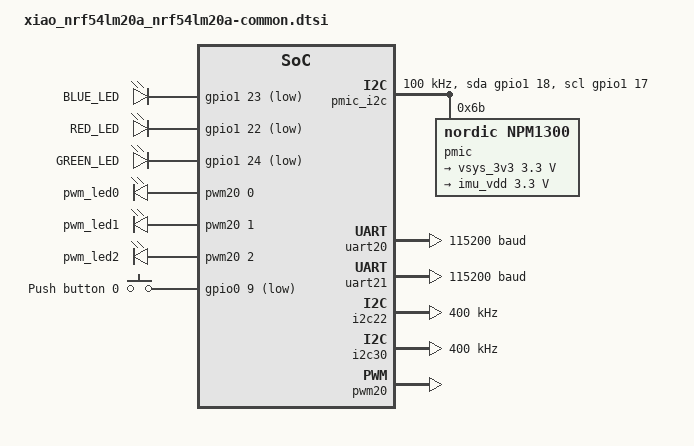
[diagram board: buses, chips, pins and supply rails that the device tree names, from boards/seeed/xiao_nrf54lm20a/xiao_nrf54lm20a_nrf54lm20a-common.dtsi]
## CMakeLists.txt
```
cmake_minimum_required(VERSION 3.20.0)

# Find Zephyr. This also loads the Zephyr build system.
find_package(Zephyr REQUIRED HINTS $ENV{ZEPHYR_BASE})
project(wearable_hr_monitor)

target_sources(app PRIVATE
    src/main.cpp
    src/WearableDSP.cpp
    src/power_ctrl.cpp
    src/gesture_mode.cpp
    src/gesture_poses.cpp
    src/orientation.cpp
    src/mic_vad.cpp
    src/mic_vad_rms.cpp
    src/lc3_codec.c
    src/ble_audio.cpp
    src/audio_stream.cpp
    src/audio_out.cpp
    src/audio_downlink.cpp
    src/sd_card.cpp
)
```

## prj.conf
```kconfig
# Core OS & C++
CONFIG_CPP=y
CONFIG_STD_CPP17=y
CONFIG_NEWLIB_LIBC=y
CONFIG_NEWLIB_LIBC_FLOAT_PRINTF=y

# Hardware Math (FPU)
CONFIG_FPU=y
CONFIG_CMSIS_DSP=y
CONFIG_CMSIS_DSP_FILTERING=y
CONFIG_CMSIS_DSP_FASTMATH=y
CONFIG_CMSIS_DSP_TRANSFORM=y
CONFIG_CMSIS_DSP_STATISTICS=y
CONFIG_CMSIS_DSP_COMPLEXMATH=y

# Peripherals & Sensors
CONFIG_I2C=y
CONFIG_I2S=y
CONFIG_SENSOR=y
CONFIG_LOG=y
CONFIG_MAX30101=y
CONFIG_MAX30101_SPO2_MODE=y
# Chip-internal sample rate must equal the polling rate (driver reads 1 FIFO
# entry per sensor_sample_fetch and does not check FIFO occupancy).
# 1 = 100 Hz; matches SAMPLE_RATE in WearableDSP.h.
CONFIG_MAX30101_SR=1
# IR LED drive current (used as the PPG source on the wrist).
# Driver default is 0x33 = ~10 mA, which is on the low end and produces a
# weak AC component that lets the 2x cardiac harmonic dominate the
# autocorrelation.  0x66 = ~20 mA is the standard wrist-PPG drive level.
# Scale: 0x00=0 mA, 0xff=50 mA, linear (~0.2 mA / LSB).
CONFIG_MAX30101_LED2_PA=0x66
# LSM6DSL default ODR is "select at runtime" (chip stays powered down).
# 4 = 104 Hz, the closest available to our 100 Hz polling cadence.
CONFIG_LSM6DSL=y
CONFIG_LSM6DSL_ACCEL_ODR=4
# Gyroscope enabled 2026-06-10 for the dictation-vs-air-mouse flip
# discriminator prototype.  The supination roll (about the forearm
# axis = band X) has a gyro signature a lean does not -- something
# the accelerometer is blind to (yaw about the gravity-aligned forearm
# axis).  104 Hz matches the accel/acq cadence; +/-1000 dps gives
# headroom so a brisk wrist flip (~peak 400-600 dps) doesn't clip.
# Power note: the gyro is the most power-hungry IMU block; for
# production it should be gated to only run during the raise
# transition, not always-on.
CONFIG_LSM6DSL_GYRO_ODR=4
CONFIG_LSM6DSL_GYRO_FS=1000

# Threading & Memory
CONFIG_MAIN_STACK_SIZE=4096
CONFIG_SYSTEM_WORKQUEUE_STACK_SIZE=4096
CONFIG_HEAP_MEM_POOL_SIZE=4096
# Round-robin equal-priority preemptible threads so the two SOFT codec threads (LC3
# encode + decode, both prio 8) share fairly under load and neither starves the other.
# The hard-real-time fix is the priority split (codecs below the I2S feeder); this is
# the belt-and-suspenders safety net. 10 ms slice. (2026-06-30 full-duplex stutter fix.)
CONFIG_TIMESLICING=y
CONFIG_TIMESLICE_SIZE=10

# Power Management.
# CONFIG_PM enables Zephyr's PM policy: when the kernel has no runnable
# threads and no near-term timer, the policy picks the deepest allowed
# CPU sleep state.  On nRF52840 with the default policy that means
# SUSPEND-TO-IDLE (System ON sleep, WFI).  RAM is retained, the RTC
# keeps ticking (so k_timer / k_sleep still wake on schedule), and the
# BLE controller keeps its own radio scheduling.  Typical idle current
# drops from ~5 mA (full-run) to a few tens of µA plus radio events.
# CONFIG_PM_DEVICE is intentionally NOT enabled here -- our peripheral
# power control (MAX30102 SHDN, LSM6DSL embedded engines) is done by
# hand via direct I2C writes, not by the device PM framework.
CONFIG_PM=y

# BLE Configuration
CONFIG_BT=y
CONFIG_BT_PERIPHERAL=y
CONFIG_BT_DEVICE_NAME="Xiao_Pulse"
CONFIG_BT_DEVICE_APPEARANCE=833
CONFIG_BT_HRS=y
CONFIG_BT_BAS=y

# BLE security + bonded-pairing + persistent settings storage.  Kept as
# foundation infra: settings_load() at bt_ready() and the 'u' serial
# command (bt_unpair) rely on CONFIG_BT_SETTINGS + SMP, and bond storage
# lets a host avoid re-pairing every connection.
CONFIG_BT_SMP=y
CONFIG_BT_SIGNING=y
CONFIG_BT_SETTINGS=y
CONFIG_SETTINGS=y
CONFIG_FLASH=y
CONFIG_FLASH_MAP=y
CONFIG_NVS=y
# Allow up to 4 bonded hosts (phone + computer + 2 spare slots).
CONFIG_BT_MAX_PAIRED=4

# ADC for Battery reading
CONFIG_ADC=y

# microSD over SPI + FAT filesystem.  PRIMARY future role: WRITING/recording
# audio to SD; the only read path today is the TEST-ONLY WAV playback that
# exercises audio_out with real audio.  (Config verified on this hardware.)
CONFIG_SPI=y
CONFIG_SDHC=y
CONFIG_DISK_DRIVERS=y
CONFIG_DISK_DRIVER_SDMMC=y
CONFIG_FILE_SYSTEM=y
CONFIG_FAT_FILESYSTEM_ELM=y

# USB CDC ACM Console (configured via board defaults)
CONFIG_CONSOLE=y
CONFIG_UART_CONSOLE=y
CONFIG_UART_LINE_CTRL=y
# RX needs the interrupt API.  The cdc_acm driver only delivers received
# bytes via its IRQ path; uart_poll_in() returns -1 indefinitely on it
# in this NCS version (logs went out fine but typed commands never
# reached the firmware -- reproduced in screen, so not Arduino-IDE-side).
# Enabling this lets us use uart_irq_callback_user_data_set + uart_irq_rx_enable.
CONFIG_UART_INTERRUPT_DRIVEN=y

# sys_reboot() for the serial-triggered reset command
CONFIG_REBOOT=y

# PDM microphone (dictation entry A.0)
CONFIG_AUDIO=y
CONFIG_AUDIO_DMIC=y
CONFIG_AUDIO_DMIC_NRFX_PDM=y

# Dictation audio stream (sub-project B): LC3 encode + custom BLE notify service.
# LC3 codec (Google liblc3, shipped in NCS as a Zephyr module).
CONFIG_LIBLC3=y
# FPU context must be saved across context switches: the LC3 encoder runs on the
# mic capture thread, alongside the CMSIS-DSP FFT VAD and the float math on the
# acq/DSP threads. CONFIG_FPU is already enabled above; sharing makes multi-thread
# FPU use correct.
CONFIG_FPU_SHARING=y
# BLE throughput for the 82-byte audio notification ([seq16][80B LC3 block]).
# Default ATT MTU (23) caps a notification at 20 bytes, far too small -- raise it.
# DLE lets the whole frame ride in one link-layer PDU. TX buf count gives the
# capture thread queueing headroom (tuned from observed [AUD] drops).
CONFIG_BT_L2CAP_TX_MTU=247
CONFIG_BT_BUF_ACL_TX_SIZE=251
CONFIG_BT_BUF_ACL_RX_SIZE=251
CONFIG_BT_CTLR_DATA_LENGTH_MAX=251
CONFIG_BT_L2CAP_TX_BUF_COUNT=12

# To re-measure per-thread stack peaks (right-sizing), temporarily add:
#   CONFIG_THREAD_NAME=y / CONFIG_INIT_STACKS=y / CONFIG_THREAD_ANALYZER=y
#   CONFIG_THREAD_ANALYZER_USE_LOG=y / CONFIG_THREAD_ANALYZER_AUTO=y
#   CONFIG_THREAD_ANALYZER_AUTO_INTERVAL=20 / CONFIG_LOG_BUFFER_SIZE=8192
# (2026-06-21 measurement: dl_thread decode peak 2784 B -> DL_THREAD_STACK=4096.)
```

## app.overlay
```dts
&pinctrl {
    i2c1_default: i2c1_default {
        group1 {
            psels = <NRF_PSEL(TWIM_SDA, 0, 4)>,
                    <NRF_PSEL(TWIM_SCL, 0, 5)>;
            bias-pull-up;
        };
    };
    i2c1_sleep: i2c1_sleep {
        group1 {
            psels = <NRF_PSEL(TWIM_SDA, 0, 4)>,
                    <NRF_PSEL(TWIM_SCL, 0, 5)>;
            low-power-enable;
        };
    };
	i2s0_default_alt: i2s0_default_alt {
		group1 {
			psels = <NRF_PSEL(I2S_SCK_M, 0, 3)>,    /* BCLK -> D1/P0.03 */
				<NRF_PSEL(I2S_LRCK_M, 0, 2)>,   /* LRCK -> D0/P0.02 */
				<NRF_PSEL(I2S_SDOUT, 0, 28)>;   /* DIN  -> D2/P0.28 */
		};
	};

	/* microSD over SPIM2 -- NOT SPIM1, which shares the HW block with the
	 * PPG's I2C1; SPIM2 stays conflict-free for the integrated build.
	 * Proven pinout from spkr_test/app.overlay (works on this hardware). */
	spi2_default_alt: spi2_default_alt {
		group1 {
			psels = <NRF_PSEL(SPIM_SCK, 1, 13)>,    /* CLK  -> D8/P1.13 */
				<NRF_PSEL(SPIM_MOSI, 1, 15)>,   /* MOSI -> D10/P1.15 */
				<NRF_PSEL(SPIM_MISO, 1, 14)>;   /* MISO -> D9/P1.14 */
		};
	};
	spi2_sleep_alt: spi2_sleep_alt {
		group1 {
			psels = <NRF_PSEL(SPIM_SCK, 1, 13)>,
				<NRF_PSEL(SPIM_MOSI, 1, 15)>,
				<NRF_PSEL(SPIM_MISO, 1, 14)>;
			low-power-enable;
		};
	};
};

/* microSD card slot on SPIM2 (FAT). PRIMARY future role: WRITING/recording
 * audio to SD; the only read path today is the TEST-ONLY WAV playback. */
&spi2 {
	status = "okay";
	pinctrl-0 = <&spi2_default_alt>;
	pinctrl-1 = <&spi2_sleep_alt>;
	pinctrl-names = "default", "sleep";
	cs-gpios = <&gpio0 29 GPIO_ACTIVE_LOW>;   /* CS -> D3/P0.29 */

	sdhc0: sdhc@0 {
		compatible = "zephyr,sdhc-spi-slot";
		reg = <0>;
		status = "okay";
		spi-max-frequency = <8000000>;        /* [UNIT] 8 MHz -- safe for SPI SD */
		mmc {
			compatible = "zephyr,sdmmc-disk";
			disk-name = "SD";
			status = "okay";
		};
	};
};

&i2c1 {
    compatible = "nordic,nrf-twim";
    status = "okay";
    pinctrl-0 = <&i2c1_default>;
    pinctrl-1 = <&i2c1_sleep>;
    pinctrl-names = "default", "sleep";
    clock-frequency = <I2C_BITRATE_FAST>;

    max30102: max30102@57 {
        compatible = "maxim,max30101";
        reg = <0x57>;
        label = "MAX30102";
    };
};

&i2s0 {
	status = "okay";
	pinctrl-0 = <&i2s0_default_alt>;
	pinctrl-names = "default";
};

/* Onboard PDM mic (MSM261D3526H1CPM): power regulator on P1.10 + enable pdm0.
 * Board DTS already provides the pdm0 node + pdm0_default/sleep pinctrl. */
/ {
    msm261d3526hicpm-c-en {
        compatible = "regulator-fixed";
        regulator-name = "MSM261D3526HICPM-C-EN";
        enable-gpios = <&gpio1 10 (NRF_GPIO_DRIVE_S0H1 | GPIO_ACTIVE_HIGH)>;
        regulator-boot-on;
    };
};

&pdm0 {
    status = "okay";
    clock-source = "PCLK32M";
};

/ {
    aliases {
        dmic0 = &pdm0;   /* mic_vad references DT_ALIAS(dmic0) */
    };
};
```

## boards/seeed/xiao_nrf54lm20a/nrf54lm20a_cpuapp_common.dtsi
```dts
/*
 * Copyright (c) 2025 Seeed Technology Co., Ltd.
 *
 * SPDX-License-Identifier: Apache-2.0
 */

/* This file is common to the secure and non-secure domain */

/* LOCAL PATCH (not Seeed's): this NCS (3.2.3 / Zephyr 4.2.99) ships the
 * engineering-A SoC dtsi as nrf54lm20a_enga_cpuapp.dtsi. Seeed's file
 * targets a newer Zephyr where it is nrf54lm20a_cpuapp.dtsi. Filename
 * only -- no hardware description is changed. Revert on an SDK upgrade. */
#include <nordic/nrf54lm20a_enga_cpuapp.dtsi>
#include "xiao_nrf54lm20a_nrf54lm20a-common.dtsi"

/ {
	power_en: power_en {
		compatible = "regulator-fixed";
		regulator-name = "power_en";
		enable-gpios = <&gpio1 12 GPIO_ACTIVE_HIGH>;
		regulator-boot-on;
	};
	
	chosen {
		zephyr,console = &uart20;
		zephyr,shell-uart = &uart20;
		zephyr,uart-mcumgr = &uart20;
		zephyr,bt-mon-uart = &uart20;
		zephyr,bt-c2h-uart = &uart20;
		zephyr,flash-controller = &rram_controller;
		zephyr,flash = &cpuapp_rram;
		zephyr,ieee802154 = &ieee802154;
	};
};

&cpuapp_sram {
	status = "okay";
};

&hfpll {
	clock-frequency = <DT_FREQ_M(128)>;
};

&lfxo {
	load-capacitors = "internal";
	load-capacitance-femtofarad = <17000>;
	status = "okay";
};

&hfxo {
	load-capacitors = "internal";
	load-capacitance-femtofarad = <15000>;
	status = "okay";
};

&vregmain {
	status = "okay";
	regulator-initial-mode = <NRF5X_REG_MODE_DCDC>;
};

&grtc {
	owned-channels = <0 1 2 3 4 5 6 7 8 9 10 11>;
	/* Channels 7-11 reserved for Zero Latency IRQs, 3-4 for FLPR */
	child-owned-channels = <3 4 7 8 9 10 11>;
	status = "okay";
};

&cpuapp_rram {
	partitions {
		compatible = "fixed-partitions";
		#address-cells = <1>;
		#size-cells = <1>;

		boot_partition: partition@0 {
			label = "mcuboot";
			reg = <0x0 DT_SIZE_K(64)>;
		};

		slot0_partition: partition@10000 {
			label = "image-0";
			reg = <0x10000 DT_SIZE_K(449)>;
		};

		slot0_ns_partition: partition@80400 {
			label = "image-0-nonsecure";
			reg = <0x80400 DT_SIZE_K(449)>;
		};

		slot1_partition: partition@f0800 {
			label = "image-1";
			reg = <0xf0800 DT_SIZE_K(449)>;
		};

		slot1_ns_partition: partition@160c00 {
			label = "image-1-nonsecure";
			reg = <0x160c00 DT_SIZE_K(449)>;
		};

		storage_partition: partition@1d1000 {
			label = "storage";
			reg = <0x1d1000 DT_SIZE_K(36)>;
		};
	};
};

&uart20 {
	status = "okay";
};

&nfct {
	status = "okay";
};

&gpio0 {
	status = "okay";
};

&gpio1 {
	status = "okay";
};

&gpio2 {
	status = "okay";
};

&gpiote20 {
	status = "okay";
};

&gpiote30 {
	status = "okay";
};

&radio {
	status = "okay";
};

&temp {
	status = "okay";
};

&clock {
	status = "okay";
};

&ieee802154 {
	status = "okay";
};

zephyr_udc0: &usbhs {
	status = "okay";
};

&spi00 {
	status = "okay";

	cs-gpios = <&gpio2 5 GPIO_ACTIVE_LOW>;
	pinctrl-0 = <&spi00_default>;
	pinctrl-1 = <&spi00_sleep>;
	pinctrl-names = "default", "sleep";

	py25q64: py25q64ha@0 {
		compatible = "jedec,spi-nor";
		status = "disabled";
		reg = <0>;
		spi-max-frequency = <133000000>;
		jedec-id = [85 20 17];
		sfdp-bfp = [
			e5 20 f9 ff /* DW0: 4KB Erase, Read Support */
			ff ff ff 03 /* DW1: Density 64Mbit */
			44 eb 08 6b /* DW2: 1-4-4 & 1-1-4 Fast Read Parameters */
			08 3b 80 bb /* DW3: 1-1-2 & 1-2-2 Fast Read Parameters */
			fe ff ff ff /* DW4: Read Support (4-4-4) */
			ff ff 00 ff /* DW5: Unused / 2-2-2 Parameters */
			ff ff 44 eb /* DW6: 4-4-4 Fast Read Parameters */
			0c 20 0f 52 /* DW7: Sector Type 1 (4KB, 20H), Type 2 (32KB, 52H) */
			10 d8 00 81 /* DW8: Sector Type 3 (64KB, D8H), Type 4 (00H, 81H) */
		];
		size = <67108864>;
		has-dpd;
		t-enter-dpd = <3000>;
		t-exit-dpd = <30000>;
		requires-ulbpr;
		use-fast-read;
		hold-gpios = <&gpio2 0 GPIO_ACTIVE_LOW>;
		wp-gpios = <&gpio2 3 GPIO_ACTIVE_LOW>;
	};
};

&spi23 {
	status = "okay";
};

&uart21 {
	status = "okay";
};

&i2c22 {
	status = "okay";
};

&i2c30 {
	status = "okay";

	lsm6ds3tr_c: lsm6ds3tr-c@6a {
		compatible = "st,lsm6dsl";
		reg = <0x6a>;
		irq-gpios = <&gpio0 6 GPIO_ACTIVE_HIGH>;
		status = "okay";
	};
};

&adc {
	status = "okay";
};

&adc {
	#address-cells = <1>;
	#size-cells = <0>;

	channel@0 {
		reg = <0>;
		zephyr,gain = "ADC_GAIN_1_4";
		zephyr,reference = "ADC_REF_INTERNAL";
		zephyr,acquisition-time = <ADC_ACQ_TIME_DEFAULT>;
		zephyr,input-positive = <NRF_SAADC_AIN0>;
		zephyr,resolution = <12>;
		zephyr,oversampling = <8>;
	};

	channel@1 {
		reg = <1>;
		zephyr,gain = "ADC_GAIN_1_4";
		zephyr,reference = "ADC_REF_INTERNAL";
		zephyr,acquisition-time = <ADC_ACQ_TIME_DEFAULT>;
		zephyr,input-positive = <NRF_SAADC_AIN1>;
		zephyr,resolution = <12>;
		zephyr,oversampling = <8>;
	};

	channel@2 {
		reg = <2>;
		zephyr,gain = "ADC_GAIN_1_4";
		zephyr,reference = "ADC_REF_INTERNAL";
		zephyr,acquisition-time = <ADC_ACQ_TIME_DEFAULT>;
		zephyr,input-positive = <NRF_SAADC_AIN2>;
		zephyr,resolution = <12>;
		zephyr,oversampling = <8>;
	};

	channel@3 {
		reg = <3>;
		zephyr,gain = "ADC_GAIN_1_4";
		zephyr,reference = "ADC_REF_INTERNAL";
		zephyr,acquisition-time = <ADC_ACQ_TIME_DEFAULT>;
		zephyr,input-positive = <NRF_SAADC_AIN3>;
		zephyr,resolution = <12>;
		zephyr,oversampling = <8>;
	};

	channel@4 {
		reg = <4>;
		zephyr,gain = "ADC_GAIN_1_4";
		zephyr,reference = "ADC_REF_INTERNAL";
		zephyr,acquisition-time = <ADC_ACQ_TIME_DEFAULT>;
		zephyr,input-positive = <NRF_SAADC_AIN4>;
		zephyr,resolution = <12>;
		zephyr,oversampling = <8>;
	};

	channel@5 {
		reg = <5>;
		zephyr,gain = "ADC_GAIN_1_4";
		zephyr,reference = "ADC_REF_INTERNAL";
		zephyr,acquisition-time = <ADC_ACQ_TIME_DEFAULT>;
		zephyr,input-positive = <NRF_SAADC_AIN5>;
		zephyr,resolution = <12>;
		zephyr,oversampling = <8>;
	};

	channel@6 {
		reg = <6>;
		zephyr,gain = "ADC_GAIN_1_4";
		zephyr,reference = "ADC_REF_INTERNAL";
		zephyr,acquisition-time = <ADC_ACQ_TIME_DEFAULT>;
		zephyr,input-positive = <NRF_SAADC_AIN6>;
		zephyr,resolution = <12>;
		zephyr,oversampling = <8>;
	};

	channel@7 {
		reg = <7>;
		zephyr,gain = "ADC_GAIN_1_4";
		zephyr,reference = "ADC_REF_INTERNAL";
		zephyr,acquisition-time = <ADC_ACQ_TIME_DEFAULT>;
		zephyr,input-positive = <NRF_SAADC_AIN7>;
		zephyr,resolution = <12>;
		zephyr,oversampling = <8>;
	};
};
```

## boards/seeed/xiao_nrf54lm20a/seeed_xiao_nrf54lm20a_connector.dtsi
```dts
/*
 * SPDX-License-Identifier: Apache-2.0
 *
 * XIAO 2.54mm header (Add-On-Plus) pin map for the nRF54LM20A Sense.
 * D-numbers -> SoC GPIO per schematic Rev V1.0 sheet 5 (U7).
 */

/ {
	xiao_d: connector {
		compatible = "seeed,xiao-gpio";
		#gpio-cells = <2>;
		gpio-map-mask = <0xffffffff 0xffffffc0>;
		gpio-map-pass-thru = <0 0x3f>;
		gpio-map = <0 0 &gpio1 0 0>,	/* D0  P1.00 */
			   <1 0 &gpio1 31 0>,	/* D1  P1.31 */
			   <2 0 &gpio1 30 0>,	/* D2  P1.30 */
			   <3 0 &gpio1 29 0>,	/* D3  P1.29 */
			   <4 0 &gpio1 3 0>,	/* D4  P1.03 (SDA) */
			   <5 0 &gpio1 7 0>,	/* D5  P1.07 (SCL) */
			   <6 0 &gpio1 8 0>,	/* D6  P1.08 */
			   <7 0 &gpio1 9 0>,	/* D7  P1.09 */
			   <8 0 &gpio1 4 0>,	/* D8  P1.04 */
			   <9 0 &gpio1 5 0>,	/* D9  P1.05 */
			   <10 0 &gpio1 6 0>;	/* D10 P1.06 */
	};
};

xiao_i2c: &i2c22 {};
xiao_serial: &uart20 {};
```

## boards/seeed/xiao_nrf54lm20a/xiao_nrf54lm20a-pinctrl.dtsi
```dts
/*
 * SPDX-License-Identifier: Apache-2.0
 *
 * Pin control for the XIAO nRF54LM20A Sense. Pins verified against schematic
 * Rev V1.0 (see docs/nrf54lm20a-board.md). Only the M1 buses are defined here
 * (console UART + OLED header I2C); sensor/mic/PMIC buses are added at M3.
 */

&pinctrl {
	/* Console UART -> ATSAMD11 bridge -> USB serial. TX P1.11, RX P1.10. */
	uart20_default: uart20_default {
		group1 {
			psels = <NRF_PSEL(UART_TX, 1, 11)>;
		};
		group2 {
			psels = <NRF_PSEL(UART_RX, 1, 10)>;
			bias-pull-up;
		};
	};

	uart20_sleep: uart20_sleep {
		group1 {
			psels = <NRF_PSEL(UART_TX, 1, 11)>,
				<NRF_PSEL(UART_RX, 1, 10)>;
			low-power-enable;
		};
	};

	/*
	 * OLED bus on the XIAO header, mapped for NEAT SINGLE-EDGE WIRING.
	 * The right edge of the board runs (top->bottom): 5V, GND, 3V3, D10, D9,
	 * D8, D7. Putting SCL on D10 (P1.06) and SDA on D9 (P1.05) makes the four
	 * OLED wires land on four consecutive pads -- GND, 3V3, D10, D9 -- so a
	 * GND/VCC/SCL/SDA module solders straight down with no crossing wires.
	 * (The board's "standard" XIAO I2C pins are D4/D5; this variant repurposes
	 * the header I2C solely for the OLED, hence the wiring-driven remap.)
	 */
	i2c22_default: i2c22_default {
		group1 {
			psels = <NRF_PSEL(TWIM_SDA, 1, 5)>,   /* D9  P1.05 */
				<NRF_PSEL(TWIM_SCL, 1, 6)>;   /* D10 P1.06 */
		};
	};

	i2c22_sleep: i2c22_sleep {
		group1 {
			psels = <NRF_PSEL(TWIM_SDA, 1, 5)>,
				<NRF_PSEL(TWIM_SCL, 1, 6)>;
			low-power-enable;
		};
	};
};
```

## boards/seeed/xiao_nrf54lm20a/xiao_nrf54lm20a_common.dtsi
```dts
/*
 * SPDX-License-Identifier: Apache-2.0
 *
 * Board-common nodes (LEDs, button, header buses) for the XIAO nRF54LM20A Sense.
 */

#include <zephyr/dt-bindings/input/input-event-codes.h>
#include "xiao_nrf54lm20a-pinctrl.dtsi"

/ {
	leds {
		compatible = "gpio-leds";

		/* On-board RGB LED. Polarity assumed active-low (common-anode to
		 * 3V3, as on the nRF52840 XIAO Sense) -- VERIFY on HW. */
		led_red: led_red {
			gpios = <&gpio1 22 GPIO_ACTIVE_LOW>;
			label = "Red LED";
		};
		led_blue: led_blue {
			gpios = <&gpio1 23 GPIO_ACTIVE_LOW>;
			label = "Blue LED";
		};
		led_green: led_green {
			gpios = <&gpio1 24 GPIO_ACTIVE_LOW>;
			label = "Green LED";
		};
	};

	buttons: buttons {
		compatible = "gpio-keys";

		usr_btn: usr-btn {
			gpios = <&gpio0 9 (GPIO_PULL_UP | GPIO_ACTIVE_LOW)>;
			label = "USR";
			zephyr,code = <INPUT_KEY_0>;
		};
	};

	aliases {
		led0 = &led_green;
		sw0 = &usr_btn;
		watchdog0 = &wdt31;
	};
};

&uart20 {
	current-speed = <115200>;
	pinctrl-0 = <&uart20_default>;
	pinctrl-1 = <&uart20_sleep>;
	pinctrl-names = "default", "sleep";
};

/* OLED I2C bus (header D10/D9). SSD1306 node is added in the app overlay.
 * concat-buf-size: SSD1306/CFB writes the whole 128x32 framebuffer (512 B) + 1
 * command byte in a single transfer; the nRF TWIM needs a concatenation buffer
 * at least that large or it errors "internal buffer insufficient (1 + 512 > 16)".
 * Lives here so every app that drives the OLED inherits it. */
&i2c22 {
	pinctrl-0 = <&i2c22_default>;
	pinctrl-1 = <&i2c22_sleep>;
	pinctrl-names = "default", "sleep";
	clock-frequency = <400000>;
	zephyr,concat-buf-size = <1088>;
};
```

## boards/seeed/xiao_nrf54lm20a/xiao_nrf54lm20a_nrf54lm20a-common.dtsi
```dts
/*
 * Copyright (c) 2025 Seeed Technology Co., Ltd.
 *
 * SPDX-License-Identifier: Apache-2.0
 */

#include "xiao_nrf54lm20a_nrf54lm20a-pinctrl.dtsi"
#include <zephyr/dt-bindings/regulator/npm13xx.h>

/ {
	leds {
		compatible = "gpio-leds";

		blue_led: blue_led {
			gpios = <&gpio1 23 GPIO_ACTIVE_LOW>;
			label = "BLUE_LED";
		};

		red_led: red_led {
			gpios = <&gpio1 22 GPIO_ACTIVE_LOW>;
			label = "RED_LED";
		};

		green_led: green_led {
			gpios = <&gpio1 24 GPIO_ACTIVE_LOW>;
			label = "GREEN_LED";
		};
	};

	pwmleds {
		compatible = "pwm-leds";
		pwm_led0: pwm_led_0 {
			pwms = <&pwm20 0 PWM_MSEC(20) PWM_POLARITY_INVERTED>;
		};
		pwm_led1: pwm_led_1 {
			pwms = <&pwm20 1 PWM_MSEC(20) PWM_POLARITY_INVERTED>;
		};
		pwm_led2: pwm_led_2 {
			pwms = <&pwm20 2 PWM_MSEC(20) PWM_POLARITY_INVERTED>;
		};
	};

	buttons {
		compatible = "gpio-keys";

		button0: button_0 {
			gpios = <&gpio0 9 (GPIO_PULL_UP | GPIO_ACTIVE_LOW)>;
			label = "Push button 0";
			zephyr,code = <INPUT_KEY_0>;
		};
	};

	pmic_i2c: pmic-i2c {
		compatible = "gpio-i2c";
		#address-cells = <1>;
		#size-cells = <0>;
		/* PMIC I2C: P1.18 = SDA, P1.17 = SCL. */
		sda-gpios = <&gpio1 18 GPIO_ACTIVE_HIGH>;
		scl-gpios = <&gpio1 17 GPIO_ACTIVE_HIGH>;
		clock-frequency = <100000>;
		status = "okay";

		pmic: npm1300@6b {
			compatible = "nordic,npm1300";
			reg = <0x6b>;
			pmic_charger: charger {
				compatible = "nordic,npm1300-charger";
				term-microvolt = <4200000>;
				term-warm-microvolt = <4000000>;
				current-microamp = <150000>;
				dischg-limit-microamp = <1000000>;
				vbus-limit-microamp = <500000>;
				thermistor-ohms = <10000>;
				thermistor-beta = <3380>;
				charging-enable;
			};

			regulators {
				compatible = "nordic,npm1300-regulator";

				/*
				 * BUCK2 supplies VSYS_3V3, which powers both the nRF54
				 * application and the SAMD11 USB debugger. Keep this rail
				 * enabled during XIAO nRF54LM20A development; disabling it
				 * also removes power from the USB debugger.
				 */
				vsys_3v3: BUCK2 {
					regulator-always-on;
					regulator-min-microvolt = <3300000>;
					regulator-max-microvolt = <3300000>;
				};

				imu_vdd: dmic_vdd: LDO1 {
					regulator-init-microvolt = <3300000>;
					regulator-min-microvolt = <3300000>;
					regulator-max-microvolt = <3300000>;
					regulator-initial-mode = <NPM13XX_LDSW_MODE_LDO>;
				};
			};

			pmic_leds: leds {
				compatible = "nordic,npm1300-led";
				nordic,led0-mode = "error";
				nordic,led1-mode = "host";
				nordic,led2-mode = "host";
			};
		};
	};

	aliases {
		led0 = &blue_led;
		led1 = &red_led;
		led2 = &green_led;
		pwm-led0 = &pwm_led0;
		pwm-led1 = &pwm_led1;
		pwm-led2 = &pwm_led2;
		sw0 = &button0;
		watchdog0 = &wdt31;
		imu0 = &lsm6ds3tr_c;
		dmic20 = &pdm20;
	};
};

&uart20 {
	current-speed = <115200>;
	pinctrl-0 = <&uart20_default>;
	pinctrl-1 = <&uart20_sleep>;
	pinctrl-names = "default", "sleep";
};

&uart21 {
	current-speed = <115200>;
	pinctrl-0 = <&uart21_default>;
	pinctrl-1 = <&uart21_sleep>;
	pinctrl-names = "default", "sleep";
};

&i2c22 {
	pinctrl-0 = <&i2c22_default>;
	pinctrl-1 = <&i2c22_sleep>;
	pinctrl-names = "default", "sleep";
	clock-frequency = <400000>;
};

&i2c30 {
	pinctrl-0 = <&i2c30_default>;
	pinctrl-1 = <&i2c30_sleep>;
	pinctrl-names = "default", "sleep";
	clock-frequency = <400000>;
};

&spi23 {
	pinctrl-0 = <&spi23_default>;
	pinctrl-1 = <&spi23_sleep>;
	pinctrl-names = "default", "sleep";
};

&pdm20 {
	pinctrl-0 = <&pdm20_default>;
	pinctrl-1 = <&pdm20_sleep>;
	pinctrl-names = "default", "sleep";
	clock-source = "PCLK32M";
};

&pwm20 {
    status = "okay";
	pinctrl-0 = <&pwm20_default>;
	pinctrl-1 = <&pwm20_sleep>;
	pinctrl-names = "default", "sleep";
};
```

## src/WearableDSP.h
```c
#pragma once
#include <arm_math.h>
#include <stdint.h>

#define BUFFER_SIZE 512      // 5.12 seconds of data at 100Hz
#define SAMPLE_RATE 100.0f
#define MIN_BPM 40.0f
#define MAX_BPM 200.0f

// Motion classification driven by IMU SMV variance.  STATIONARY is the
// only state for which we currently produce a BPM update -- the MICRO /
// HEAVY motion-artifact-cancellation paths have been parked on the
// `feature/motion-path-experiments` branch pending further work.  In
// this build, MICRO and HEAVY both hold Kalman and signal "stay steady"
// to the caller.
enum MotionState {
    STATIONARY,
    MICRO_MOTION,
    HEAVY_MOTION
};

// Wear state with hysteresis.  The 50%-overlap window means a fresh OFF->ON
// transition contaminates the next two windows (the first holds ~50% stale
// off-wrist data; the second can still hold the leading edge).  Producing
// BPM on those windows yields garbage because the DC step dominates the
// FFT / autocorrelation.  We therefore require N consecutive "mean above
// threshold" windows before declaring WORN.
enum WearState {
    WEAR_NOT_WORN,    // PPG mean below threshold; no BPM produced
    WEAR_STABILIZING, // mean just passed, but buffer may still hold stale samples
    WEAR_WORN         // buffer is guaranteed 100% post-wear; produce BPM
};

// PPG raw-count threshold (MAX30102 IR channel, LED2_PA=0x66 ~ 20 mA).
// Typical worn signal: 30k-80k.  Ambient / no contact: < 2k.
#define WEAR_PPG_THRESHOLD       10000.0f

// Number of consecutive passing windows required for WORN.  Buffer is
// BUFFER_SIZE samples = 2 overlap-windows long, so 2 passes guarantees
// the entire buffer is post-wear data.  4 gives the skin one more
// 2.5 s window to physiologically settle (skin compresses, capillaries
// equilibrate, LED warms the surface) before we start trusting the math.
// Observed in v0.2 boot snapshots: ppg_dc rises 100-300 counts per
// window for the first 2-3 worn windows as the optical baseline drifts.
#define WEAR_PASSES_REQUIRED     4

// Number of windows the motion-state classifier remains "warm" after
// any motion event.  1 window = one 50%-overlap step (~2.56 s) --
// long enough to cover the post-motion settle, short enough that we
// return to the clean STATIONARY path quickly once the wrist is still.
#define MOTION_COOLDOWN_WINDOWS  1

struct KalmanFilter1D {
    float q = 0.05f;
    float r = 2.0f;
    float x = 75.0f;
    float p = 1.0f;
    float k = 0.0f;

    float update(float measurement);
};

class WearableDSP {
private:
    KalmanFilter1D kalman;
    arm_rfft_fast_instance_f32 fft_inst;

    // 4th-order Butterworth band-pass IIR (0.6 - 3.3 Hz @ 100 Hz Fs),
    // 2 biquad sections in cascade.  State buffer is 4 floats per stage.
    arm_biquad_casd_df1_inst_f32 bp_inst;
    float bp_state[4 * 2];

    float fft_output[BUFFER_SIZE];
    float fft_magnitudes[BUFFER_SIZE / 2];

    // Autocorrelation output: arm_correlate_f32 on N samples produces
    // (2N - 1) samples with zero lag at index N - 1.  Moved off stack
    // to prevent overflow.
    float correlation[BUFFER_SIZE * 2 - 1];

    // Wear-state machine state
    WearState wear_state = WEAR_NOT_WORN;
    int wear_pass_count = 0;

    // Last motion classification produced by processHeartRate().
    // Exposed via getMotionState() so callers can react (e.g. the
    // power state machine, or the BLE layer signalling "stay steady").
    MotionState last_motion = STATIONARY;

    // Motion-state hysteresis.  When IMU variance crosses into MICRO or
    // HEAVY in window N, we cannot trust the IMU's "quiet now" reading
    // in window N + 1 -- mechanical settle of the blood column and IIR
    // ringing across the 50% overlap conspire to corrupt the immediately-
    // following stationary classification.  motion_cooldown counts down
    // from MOTION_COOLDOWN_WINDOWS after every motion-detected window;
    // while > 0, the path is forced to at least MICRO_MOTION regardless
    // of current IMU variance.
    int motion_cooldown = 0;

    float runAutocorrelation(float* ppg);
    // Stationary-only FFT.  Runs on the band-passed PPG buffer.
    // Returns the BPM at the strongest bin in the cardiac band
    // [0.6, 3.33 Hz].  Used as the second opinion to cross-validate
    // runAutocorrelation() and catch the sub-harmonic failure mode
    // (autocorr can lock onto the 2T peak when the cardiac T-peak is
    // below 50 % of the in-band global max).
    float runStationaryFFT(float* ppg);
    // Reconcile autocorr and FFT picks for the STATIONARY path.
    // Returns the chosen BPM (or 0 to signal "hold Kalman") and writes
    // a confidence in [0, 1] to *out_confidence:
    //   1.0  -- both methods agreed within +/-10 BPM (average returned)
    //   0.5  -- one method silent / 2:1 ratio resolved (sub-harmonic)
    //   0.0  -- disagree without explanation (caller should hold Kalman)
    float reconcileStationary(float bpm_ac, float bpm_fft, float *out_confidence);
    // Harmonic-sum score for FFT bin K: fft_magnitudes[K] + [2K] + [3K].
    // Out-of-range harmonic terms are omitted.  Real cardiac peaks
    // show rich harmonic structure (2nd harmonic typically 30-70 % of
    // fundamental in wrist PPG, 3rd often visible); IIR-ring artifacts
    // and sub-harmonic peaks do not.  Requires fft_magnitudes to hold
    // the current window's FFT (populated by runStationaryFFT).
    float harmonicScore(int K);
    // Harmonic-structure post-check applied after reconcileStationary
    // agrees on a candidate.  If 2K's harmonic-sum score is higher than
    // K's, the candidate was a sub-harmonic and we snap to 2K instead.
    // Documented commercial pattern (Apple US patents 10,736,575 /
    // 11,744,520 / 10,123,746 -- "the metric is the sum of fundamental
    // spectral peak, second harmonic peak and third harmonic peak");
    // also the TROIKA / JOSS academic state-of-the-art.
    float applyHarmonicCheck(float candidate_bpm);
    // autocorr_n is the LENGTH OF THE INPUT to arm_correlate_f32, not
    // the length of the output array.  Output has 2*autocorr_n - 1
    // elements with zero lag at index autocorr_n - 1.
    int findSecondPeak(float* data, int autocorr_n);

    // Reset Kalman + band-pass state to initial values.  Called on the
    // NOT_WORN -> STABILIZING edge so the first BPM after wearing isn't
    // pulled toward a stale Kalman state.
    void resetAdaptiveFilters();

public:
    WearableDSP();
    // imu_smv is the Signal Magnitude Vector of the accelerometer with
    // gravity removed by the caller, used purely for motion-state
    // variance classification.  Returns the filtered BPM (or the
    // current Kalman state if the window is non-stationary / not worn /
    // signal quality fails).
    float processHeartRate(float* ppg_buffer, float* imu_smv);
    WearState getWearState() const { return wear_state; }
    MotionState getMotionState() const { return last_motion; }
    // True when the last processed window detected motion (MICRO or
    // HEAVY) on a worn device.  Callers signalling the user to hold
    // still (e.g. the BLE layer suppressing HR notifications) check
    // this after every processHeartRate() call.
    bool needsSteady() const {
        return wear_state == WEAR_WORN && last_motion != STATIONARY;
    }
};

// --- PPG quality probe (wear-position finalisation tool) -----------------
// Aggregates per-window Perfusion Index (PI = AC_RMS / DC * 100%) plus
// DC level, SQI-pass fraction and BPM stability across a capture window.
// Used to compare band wear positions (volar / dorsal / radial / ulnar)
// on an objective signal-quality metric.  Driven by the 'q' serial
// command via the power state machine; see run_ppg_probe() in main.cpp.
//
// dsp_probe_start() resets the accumulators and arms collection inside
// WearableDSP::processHeartRate(); dsp_probe_finish_and_log() disarms and
// prints a one-shot scorecard.  Both are safe to call from the power-loop
// thread (collection happens in the DSP thread; the first window is
// skipped to drop the buffer-fill + band-pass startup transient).
void dsp_probe_start(void);
void dsp_probe_finish_and_log(void);
```

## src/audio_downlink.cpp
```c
/*
 * audio_downlink -- see audio_downlink.h. Decouples the BLE RX context from the
 * LC3 decode + I2S play (the discipline that fixed sub-project B's slab starvation).
 */
#include "audio_downlink.h"
#include "audio_out.h"
#include "lc3_codec.h"
#include "ble_audio.h"

#include <zephyr/kernel.h>
#include <zephyr/logging/log.h>
#include <string.h>

LOG_MODULE_REGISTER(audio_downlink, LOG_LEVEL_INF);

#define DL_RATE_HZ      16000                       /* [UNIT] matches LC3 16 kHz */
#define DL_MAX_PAYLOAD  240                         /* [STRUCTURAL] up to 6 x 40 B frames per write */
#define DL_MSGQ_DEPTH   16                          /* [STRUCTURAL] downlink jitter queue */
#define DL_THREAD_PRIO  8                           /* [STRUCTURAL] SOFT codec: BELOW the I2S feeder (7) and
                                                     * PDM capture (6). At 7 (equal to the feeder) a host
                                                     * burst made this thread decode a 16-item backlog without
                                                     * blocking, starving the hard-real-time feeder past its
                                                     * 64 ms DMA window -> I2S underrun -> session death.
                                                     * (2026-06-30 full-duplex stutter fix.) */
#define DL_PREBUF_MS    140                         /* [STRUCTURAL] downlink jitter buffer = host control setpoint (HW-tuned) */
#define DL_STATUS_PERIOD_MS 100                     /* [STRUCTURAL] buffer-feedback cadence */
/* [STRUCTURAL] decode thread stack. liblc3's lc3_decode is stack-hungry (MDCT +
 * temp buffers); 2048 overflowed on the first frame -> MPU stack-guard fault ->
 * silent halt (CONFIG_RESET_ON_FATAL_ERROR off). Measured peak under load = 2784 B
 * (Zephyr thread analyzer, 2026-06-21); 4096 = ~47% margin over that. Decode stack
 * is data-independent (no recursion), so the peak is stable across content. */
#define DL_THREAD_STACK 4096

struct dl_item {
	uint16_t len;
	uint8_t  data[DL_MAX_PAYLOAD];
};

K_MSGQ_DEFINE(dl_msgq, sizeof(struct dl_item), DL_MSGQ_DEPTH, 4);

static uint32_t dl_drops;
static int16_t  dl_pcm[LC3_FRAME_SAMPLES];          /* 160 samples, decode scratch */

/* Over/underflow events taken from audio_out but not yet delivered to the host.
 * Accumulated across ticks so a failed/dropped status notify never loses an event
 * (the host clock-recovery loop depends on seeing them). Cleared on a successful
 * notify and at session end. */
static uint8_t dl_pending_ev;

/* forward decl required: K_WORK_DELAYABLE_DEFINE takes the function pointer. */
static void dl_status_fn(struct k_work *work);
static K_WORK_DELAYABLE_DEFINE(dl_status_work, dl_status_fn);

/* Periodic downlink buffer-feedback reporter. Runs only while a session plays
 * (self-stops when audio_out goes idle); notifies only when the host is subscribed
 * to the status char. Payload: [used u16 LE][capacity u16 LE][flags u8]. */
static void dl_status_fn(struct k_work *work)
{
	ARG_UNUSED(work);
	if (!audio_out_active()) {
		dl_pending_ev = 0;        /* session ended: drop stale events, stop the chain */
		return;
	}
	/* Drain audio_out's latch into our accumulator every tick (so it's captured even
	 * when unsubscribed or when a notify fails); clear it only once delivered. */
	dl_pending_ev |= audio_out_take_event_flags();
	if (ble_audio_status_subscribed()) {
		uint16_t used = (uint16_t)audio_out_ring_used();
		uint16_t cap  = (uint16_t)audio_out_ring_capacity();
		uint8_t  flags = (uint8_t)(BLE_AUDIO_STATUS_FL_ACTIVE |
			((dl_pending_ev & AUDIO_OUT_EV_OVERFLOW) ? BLE_AUDIO_STATUS_FL_OVERFLOW : 0) |
			((dl_pending_ev & AUDIO_OUT_EV_UNDERRUN) ? BLE_AUDIO_STATUS_FL_UNDERRUN : 0));
		uint8_t pkt[BLE_AUDIO_STATUS_LEN] = {
			(uint8_t)(used & 0xFF), (uint8_t)(used >> 8),
			(uint8_t)(cap & 0xFF),  (uint8_t)(cap >> 8),
			flags,
		};
		if (ble_audio_notify_status(pkt, sizeof(pkt)) == 0) {
			dl_pending_ev = 0;    /* delivered -> clear; else keep for the next tick */
		}
	}
	k_work_reschedule(&dl_status_work, K_MSEC(DL_STATUS_PERIOD_MS));
}

static void dl_thread(void *a, void *b, void *c)
{
	ARG_UNUSED(a); ARG_UNUSED(b); ARG_UNUSED(c);
	struct dl_item item;
	bool fast = false;

	while (1) {
		if (k_msgq_get(&dl_msgq, &item, K_MSEC(500)) != 0) {
			/* No frames for 500 ms -> stream idle: relax the BLE interval. */
			if (fast) {
				ble_audio_set_fast_conn(false);
				fast = false;
			}
			continue;
		}

		/* Auto-start a session on the first frame after idle. If start returns
		 * -EBUSY (a previous session's feeder is still in its ~50 ms cleanup),
		 * this frame's writes no-op-drop on audio_out's active check and the
		 * next frame retries -- a ~20 ms gap at a rapid stop->start, benign. */
		if (!audio_out_active()) {
			audio_out_start(DL_RATE_HZ, DL_PREBUF_MS);
			k_work_schedule(&dl_status_work, K_MSEC(DL_STATUS_PERIOD_MS));
		}
		if (!fast) {
			ble_audio_set_fast_conn(true);   /* sustain ~50 writes/s */
			fast = true;
		}

		for (uint16_t off = 0; off + LC3_FRAME_BYTES <= item.len;
		     off += LC3_FRAME_BYTES) {
			if (lc3_codec_decode_frame(item.data + off, dl_pcm) == 0) {
				audio_out_write(dl_pcm, LC3_FRAME_SAMPLES);
			}
		}
	}
}

K_THREAD_DEFINE(dl_thread_id, DL_THREAD_STACK, dl_thread, NULL, NULL, NULL,
		DL_THREAD_PRIO, 0, 0);

int audio_downlink_init(void)
{
	LOG_INF("audio_downlink ready");
	return 0;
}

void audio_downlink_feed(const uint8_t *lc3, size_t len)
{
	if (lc3 == NULL || len == 0 || len > DL_MAX_PAYLOAD) {
		dl_drops++;
		return;
	}
	struct dl_item item;
	item.len = (uint16_t)len;
	memcpy(item.data, lc3, len);
	if (k_msgq_put(&dl_msgq, &item, K_NO_WAIT) != 0) {
		dl_drops++;   /* queue full -- never block the BLE RX context */
	}
}

void audio_downlink_flush(void)
{
	k_msgq_purge(&dl_msgq);
	audio_out_flush();
	LOG_INF("downlink flush (barge-in)");
}

uint32_t audio_downlink_drop_count(void)
{
	return dl_drops;
}
```

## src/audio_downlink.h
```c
/*
 * audio_downlink -- BLE downlink bridge: raw LC3 from the phone -> decode -> audio_out.
 *
 * Mirror of audio_stream (uplink). The ble_audio downlink write callback hands LC3
 * payloads to audio_downlink_feed() (BLE RX context, must stay light); a dedicated
 * decode thread drains them, LC3-decodes, and calls audio_out_write(). The phone
 * does all heavy lifting; the device only does the <1 ms/frame decode + play.
 */
#ifndef AUDIO_DOWNLINK_H
#define AUDIO_DOWNLINK_H

#include <stdint.h>
#include <stddef.h>

#ifdef __cplusplus
extern "C" {
#endif

/* Boot init (the decode thread auto-starts; LC3 decoder is inited by
 * lc3_codec_init via the uplink). Returns 0. */
int audio_downlink_init(void);

/* Feed one raw LC3 payload (1+ contiguous 40-byte frames) from the BLE write
 * callback. Non-blocking: copies into a queue, drops + counts on overflow. */
void audio_downlink_feed(const uint8_t *lc3, size_t len);

/* Barge-in: purge queued frames + flush audio_out (instant silence). */
void audio_downlink_flush(void);

/* Count of payloads dropped (queue full / oversized) since boot -- bring-up only. */
uint32_t audio_downlink_drop_count(void);

#ifdef __cplusplus
}
#endif

#endif /* AUDIO_DOWNLINK_H */
```

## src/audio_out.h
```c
/*
 * audio_out -- speaker output engine (downlink path). I2S TX -> MAX98357A.
 *
 * Producer/consumer, mirroring the uplink split (mic_vad/audio_stream/ble_audio).
 * Callers push mono 16-bit PCM via audio_out_write(); a dedicated feeder thread
 * drains it to I2S, duplicating mono to L/R for the stereo frame. The amp's SD
 * pin is held in shutdown except between start() and stop(). The future BLE
 * downlink (LC3 decode) feeds the same audio_out_write() seam -- no API change.
 */
#ifndef AUDIO_OUT_H
#define AUDIO_OUT_H

#include <stdint.h>
#include <stddef.h>
#include <stdbool.h>

#ifdef __cplusplus
extern "C" {
#endif

/* One-time boot init: bind I2S + amp GPIO, set amp muted, ready the feeder.
 * Returns 0 on success, -ENODEV if a device isn't ready. */
int audio_out_init(void);

/* [STRUCTURAL] default prebuffer (ms) for SD-file / tone-test playback -- generous
 * jitter cushion when latency doesn't matter (the BLE downlink uses a smaller value). */
#define AUDIO_OUT_DEFAULT_PREBUF_MS 256

/* Begin a playback session. sample_rate in Hz. prebuf_ms = how much audio to
 * buffer before playback starts (latency vs opening-underrun); the feeder yields
 * until the ring holds ~that much, capped by an internal time budget. Returns 0,
 * or -EBUSY if a session is already active. */
int audio_out_start(uint32_t sample_rate, uint32_t prebuf_ms);

/* Enqueue mono 16-bit PCM. Non-blocking; drops (logged) on ring overflow; no-op
 * if no session is active. This is the seam the BLE downlink feeds. */
void audio_out_write(const int16_t *mono_pcm, size_t nsamp);

/* End the session: the feeder stops I2S and mutes the amp. */
void audio_out_stop(void);

/* Barge-in flush: clear the ring AND stop the session immediately (drops both
 * the buffered ring audio and the queued I2S blocks -> instant silence). Use
 * this for interruption; plain stop() leaves the ring to be reset on next start. */
void audio_out_flush(void);

/* Free space in the playback ring, in bytes. A producer uses this for
 * backpressure -- keep the ring FULL rather than feeding just-in-time, so the
 * feeder never underruns on scheduling jitter (the cause of playback cracking). */
size_t audio_out_ring_free(void);

/* Bytes currently buffered in the playback ring. A producer polls this to drain
 * the ring (let the buffered tail play out) before calling stop(). */
size_t audio_out_ring_used(void);

/* True while a playback session is active (between start and stop/auto-stop).
 * A producer polls this to stop feeding when the session ends. */
bool audio_out_active(void);

/* Playback volume, 0-100 % (clamped), applied to all output. Default 100. A real
 * product lever, and a stopgap for the dev-board 3V3 rail-sag at high volume
 * (loud peaks overdraw the shared rail until a bulk cap / boost is added). */
void audio_out_set_volume(uint8_t percent);
uint8_t audio_out_get_volume(void);

/* Total capacity of the playback ring, in bytes (the high-water for ring_used).
 * The downlink status reporter sends this so the host needs no hard-coded size. */
size_t audio_out_ring_capacity(void);

/* Buffer-event latch bits, set by audio_out and cleared on read. Lets the downlink
 * status reporter hand the host a hard over/underflow signal, not just inference. */
#define AUDIO_OUT_EV_OVERFLOW 0x01   /* a write was dropped (ring full) */
#define AUDIO_OUT_EV_UNDERRUN 0x02   /* the feeder pulled < a full block (ring low) */

/* Return the events latched since the last call, then clear them (read-and-clear). */
uint8_t audio_out_take_event_flags(void);

#ifdef __cplusplus
}
#endif

#endif /* AUDIO_OUT_H */
```

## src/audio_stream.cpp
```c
/*
 * audio_stream -- mic-capture -> LC3 -> BLE bridge for dictation. See header.
 *
 * Producer/consumer split (per the 2026-06-18 deep-research finding): the PDM
 * capture thread (mic_vad) MUST NOT do the LC3 encode + BLE notify itself --
 * Zephyr's nrfx PDM driver fail-STOPS the moment its slab alloc returns -ENOMEM
 * (K_NO_WAIT), so the slab has to be drained faster than it fills. Holding a slab
 * buffer through the variable-latency notify starved it (-12 / -EAGAIN, ~1 s
 * dropouts). So:
 *
 *   audio_stream_feed() [capture thread]: COPY the 320-sample block into a msgq
 *     and return immediately, letting mic_vad free the slab at once.
 *   audio_thread() [this module]: drain the msgq, LC3-encode, BLE-notify --
 *     entirely off the capture path. Lower priority than the capture thread so it
 *     can never delay the slab drain.
 *
 * This mirrors Nordic's own LE-Audio reference (a FIFO runs the audio datapath in
 * its own thread; block-based FIFO between stages).
 */

#include "audio_stream.h"
#include "lc3_codec.h"
#include "ble_audio.h"
#include "gesture_mode.h"

#include <zephyr/kernel.h>
#include <zephyr/logging/log.h>

LOG_MODULE_REGISTER(audio_stream, CONFIG_LOG_DEFAULT_LEVEL);

/* Block we expect from mic_vad: 320 samples (20 ms @ 16 kHz) = 2 LC3 frames. */
#define AUDIO_STREAM_BLOCK_SAMPLES (LC3_FRAME_SAMPLES * LC3_FRAMES_PER_PDM_BUF)
#define AUDIO_STREAM_BLOCK_BYTES   (AUDIO_STREAM_BLOCK_SAMPLES * 2)

/* PCM hand-off queue (capture thread -> audio thread). Each message is one raw
 * 20 ms PCM block; k_msgq copies it in, so the slab buffer is released the moment
 * audio_stream_feed() returns. Depth gives slack for transient encode/notify
 * jitter without ever back-pressuring (full -> drop, never block the producer). */
#define AUDIO_STREAM_Q_DEPTH 16   /* ~320 ms buffer. Deeper than 6 so a transient
                                   * BLE-notify stall (waiting on a conn event)
                                   * doesn't drop mic blocks -- dropped blocks make
                                   * gappy audio that fails host ASR. */
K_MSGQ_DEFINE(audio_pcm_q, AUDIO_STREAM_BLOCK_BYTES, AUDIO_STREAM_Q_DEPTH, 4);

/* Idle timeout: after this long with no PCM, treat the dictation burst as ended
 * and relax the BLE connection interval back to a low-power setting. */
#define AUDIO_STREAM_IDLE_MS 500

/* Bring-up instrumentation: log encode timing + drops every N blocks while
 * streaming (~50 blocks * 20 ms = ~1 s). Confirms the encode+notify cost and
 * that the producer/consumer split holds. */
#define AUDIO_STREAM_LOG_EVERY 50

static uint32_t q_drop_count;   /* PCM blocks dropped because the msgq was full */

int audio_stream_init(void)
{
	int rc = lc3_codec_init();
	if (rc) {
		LOG_ERR("audio_stream: LC3 codec init failed (%d)", rc);
		return rc;
	}
	LOG_INF("audio_stream ready (producer/consumer, q=%d)", AUDIO_STREAM_Q_DEPTH);
	return 0;
}

bool audio_stream_active(void)
{
	return (gesture_mode_get() == MODE_DICTATION) && ble_audio_subscribed();
}

void audio_stream_feed(const int16_t *pcm, size_t nsamp)
{
	if (!audio_stream_active()) {
		return;
	}
	if (nsamp != AUDIO_STREAM_BLOCK_SAMPLES || pcm == NULL) {
		return; /* defensive: only the known 20 ms block shape */
	}

	/* Copy into the queue and return at once (slab freed right after by the
	 * caller). Never block the capture thread: full queue -> drop. */
	if (k_msgq_put(&audio_pcm_q, pcm, K_NO_WAIT) != 0) {
		q_drop_count++;
	}
}

/* Consumer: encode + notify off the capture path. */
static void audio_thread(void *, void *, void *)
{
	int16_t pcm[AUDIO_STREAM_BLOCK_SAMPLES];
	bool fast_conn = false;
	uint32_t blk = 0;
	/* Cumulative captured mic-sample count -> ts32 in each uplink frame, so the host
	 * can estimate the device clock rate live for AEC drift compensation. Advances per
	 * block dequeued (even if the BLE notify later drops), so a dropped frame leaves a
	 * matching gap in ts32. Cumulative from boot; the host resets its estimator per
	 * connection, so the absolute value (and the ~74 h uint32 wrap) is irrelevant. */
	uint32_t mic_samples = 0;

	for (;;) {
		int rc = k_msgq_get(&audio_pcm_q, pcm, K_MSEC(AUDIO_STREAM_IDLE_MS));
		if (rc != 0) {
			/* Idle: dictation burst ended -> relax the link to save power. */
			if (fast_conn) {
				ble_audio_set_fast_conn(false);
				fast_conn = false;
			}
			continue;
		}

		/* ts32 for this frame = index of its first sample; advance per captured block. */
		uint32_t ts32 = mic_samples;
		mic_samples += AUDIO_STREAM_BLOCK_SAMPLES;

		/* First block of a burst: ask for a short connection interval so the
		 * host can sustain ~50 notif/s. (Whether iOS honours it is measured on
		 * HW via the le_param_updated log.) */
		if (!fast_conn) {
			ble_audio_set_fast_conn(true);
			fast_conn = true;
		}

		uint32_t t0 = k_cycle_get_32();

		uint8_t encoded[LC3_ENCODED_PDM_BUF_SIZE];
		uint16_t enc_len = 0;
		if (lc3_codec_encode_pcm_buffer(pcm, encoded, &enc_len) == 0) {
			/* Drop-on-ENOMEM handled inside ble_audio_notify (never blocks). */
			(void)ble_audio_notify(ts32, encoded, enc_len);
		} else {
			LOG_ERR("audio_stream: encode failed");
		}

		uint32_t dt_cyc = k_cycle_get_32() - t0;
		if ((++blk % AUDIO_STREAM_LOG_EVERY) == 0) {
			uint32_t us = (uint32_t)k_cyc_to_us_floor64(dt_cyc);
			LOG_INF("[AUD] encode+notify=%u us, ble_drops=%u q_drops=%u",
				us, ble_audio_drop_count(), q_drop_count);
		}
	}
}

/* Priority 8: SOFT codec work, strictly BELOW the PDM capture thread (6) AND the
 * I2S feeder (7). Both of those are hard-real-time -- capture fail-stops on slab
 * starvation, the feeder DMA-underruns (which KILLS the I2S session) -- whereas this
 * encode/notify is buffered (msgq + drop-on-full) and must yield to them. At 7 (equal
 * to the feeder) a burst starved this thread for 234 ms and the feeder past its 64 ms
 * window -> I2S session death + dropped mic blocks. (2026-06-30 full-duplex stutter fix.)
 * Stack 6144: measured high-water during LC3 encode+notify was 3520 B
 * (2026-06-18 thread-analyzer bring-up); 6144 leaves comfortable FPU margin. */
K_THREAD_DEFINE(audio_thread_id, 6144, audio_thread, NULL, NULL, NULL, 8, 0, 0);
```
